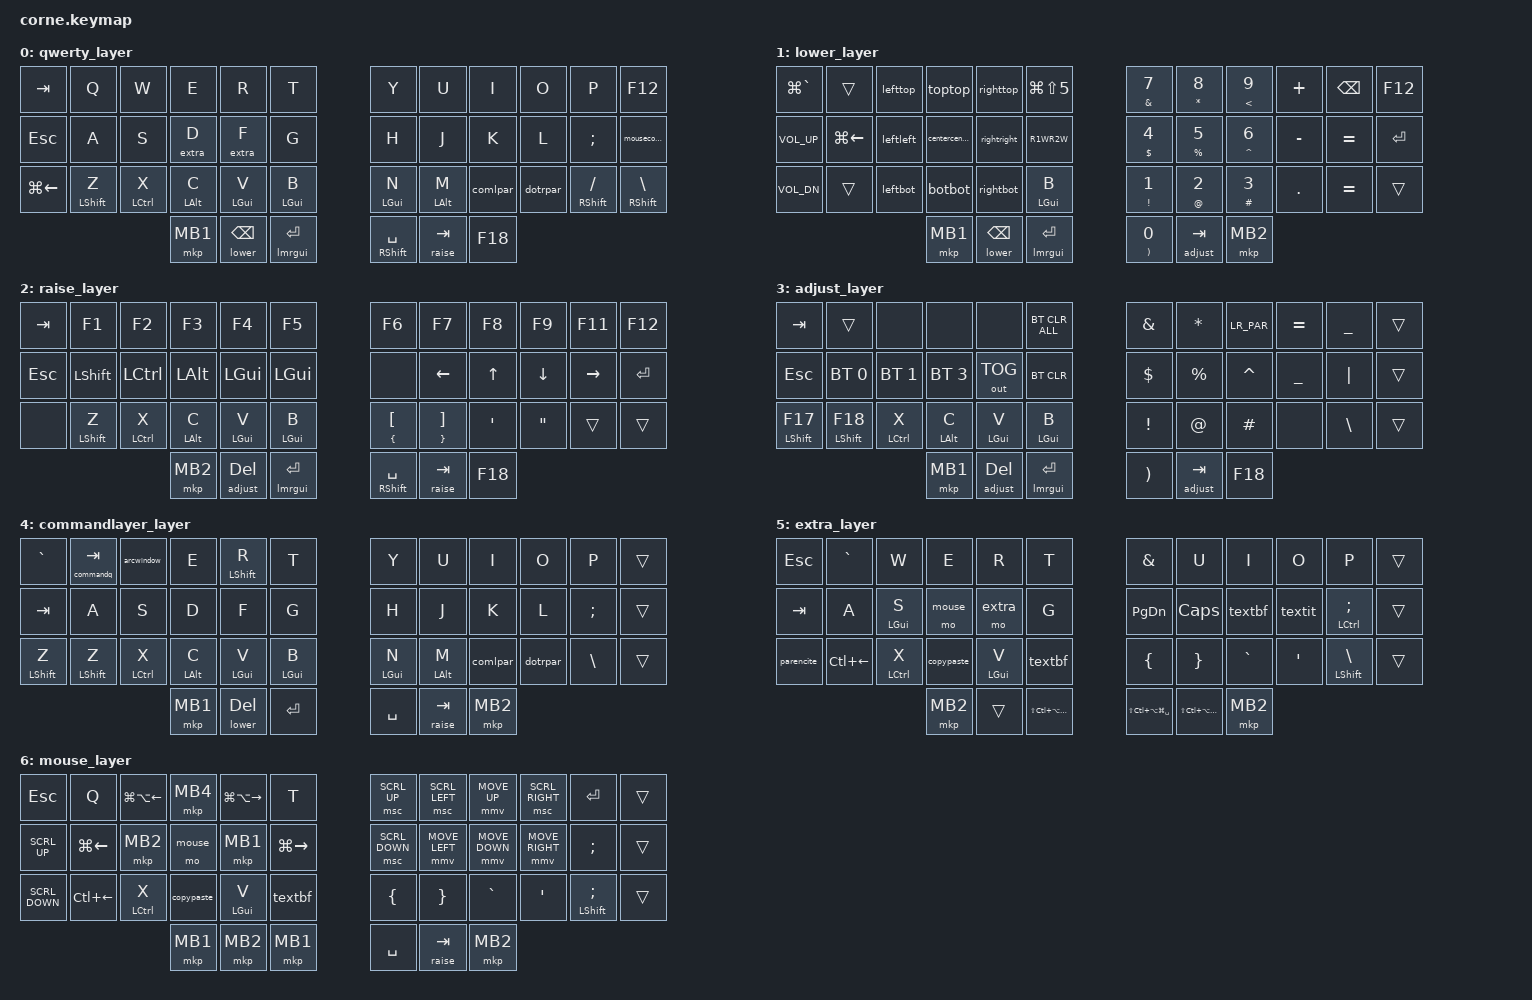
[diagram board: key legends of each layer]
/*
 * Copyright (c) 2020 The ZMK Contributors
 *

west build -d build/corne_left -p -b nice_nano -- -DSHIELD=corne_left -DZMK_EXTRA_MODULES="/workspaces/zmk/app/cirque-input-module-main"

west build -d build/corne_right -p -b nice_nano -- -DSHIELD=corne_right -DZMK_EXTRA_MODULES="/workspaces/zmk/app/cirque-input-module-main"

west build -d build/corne_left -p -b nice_nano_v2 -- -DSHIELD="corne_left"
west build -d build/corne_right -p -b nice_nano_v2 -- -DSHIELD="corne_right"

west build -d build/corne_left -p -b nice_nano_v2 -- -DSHIELD="corne_left azoteq_adapter_left_enabled" -DZMK_EXTRA_MODULES="/workspaces/zmk/app/azoteq_iqs5xx-input-module-main"

docker cp wizardly_wiles:/workspaces/zmk/app/build/corne_left/zephyr/zmk.uf2 "/Users/song100/Library/Mobile Documents/com~apple~CloudDocs/Keyboard/36firmware/Corne_Left.uf2"
docker cp wizardly_wiles:/workspaces/zmk/app/build/corne_right/zephyr/zmk.uf2 "/Users/song100/Library/Mobile Documents/com~apple~CloudDocs/Keyboard/36firmware/Corne_Right.uf2"

 * SPDX-License-Identifier: MIT
 */
#include <behaviors.dtsi>
#include <dt-bindings/zmk/keys.h>
#include <dt-bindings/zmk/bt.h>
#include <dt-bindings/zmk/outputs.h>
#include <dt-bindings/zmk/mouse.h>        
#include <dt-bindings/zmk/pointing.h>

#define qwerty 0
#define lower 1
#define raise 2
#define adjust 3
#define commandlayer 4
#define extra 5
#define mouse 6


#define ZMK_POINTING_DEFAULT_MOVE_VAL 3500  // default: 600
#define ZMK_POINTING_DEFAULT_SCRL_VAL 30

&mt {
    tapping-term-ms = <200>;///////////////
    flavor = "hold-preferred";
};

&lt {
    tapping-term-ms = <200>;
    flavor = "hold-preferred";
};


/{ // <---[[root node]]    
    macros {
        R_1W: R_1W {
            label = "R_1W";
            compatible = "zmk,behavior-macro";
            #binding-cells = <0>;
            wait-ms = <0>;
            tap-ms = <0>;
            bindings
                = <&macro_press &kp LSHFT>
                , <&macro_tap &kp S>
                , <&macro_release &kp LSHFT>
                , <&macro_tap &kp H &kp A &kp W &kp U &kp A &kp J &kp Y &kp D &kp S &kp N>
                ;
        };
        R_2W: R_2W {
            label = "R_2W";
            compatible = "zmk,behavior-macro";
            #binding-cells = <0>;
            wait-ms = <5>;
            tap-ms = <10>;
            bindings
                = <&macro_tap &kp PIPE>
                , <&macro_press &kp LSHFT>
                , <&macro_tap &kp X>
                , <&macro_release &kp LSHFT>
                , <&macro_tap &kp T &kp E>
                , <&macro_press &kp LSHFT>
                , <&macro_tap &kp Z &kp B>
                , <&macro_release &kp LSHFT>
                , <&macro_tap &kp N8>
                , <&macro_press &kp LSHFT>
                , <&macro_tap &kp Y>
                , <&macro_release &kp LSHFT>
                , <&macro_tap &kp R &kp D &kp C &kp SPACE>
                , <&macro_press &kp LSHFT>
                , <&macro_tap &kp S &kp B &kp R>
                , <&macro_release &kp LSHFT>
                , <&macro_tap &kp Z &kp U &kp 1>
                ;
        };
        textit: textit {
            label = "textit";
            compatible = "zmk,behavior-macro";
            #binding-cells = <0>;
            wait-ms = <20>;
            tap-ms = <10>;
            bindings
                = <&macro_tap 
                &kp LBRC &kp LEFT &kp LEFT
                &kp BSLH &kp F &kp K &kp X &kp F &kp L &kp F>
                ,<&macro_press &kp LALT>
                ,<&macro_tap &kp RIGHT &kp RIGHT>
                ,<&macro_release &kp LALT>
                ;
        };
        textbf: textbf {
            label = "textbf";
            compatible = "zmk,behavior-macro";
            #binding-cells = <0>;
            wait-ms = <20>;
            tap-ms = <10>;
            bindings
                = <&macro_tap 
                &kp LBRC &kp LEFT &kp LEFT
                &kp BSLH &kp F &kp K &kp X &kp F &kp B &kp E>
                ,<&macro_press 
                &kp LALT>
                ,<&macro_tap 
                &kp RIGHT &kp RIGHT>
                ,<&macro_release 
                &kp LALT>
                ;
        };
        LR_PAR: LR_PAR {
            label = "LR_PAR";
            compatible = "zmk,behavior-macro";
            #binding-cells = <0>;
            wait-ms = <40>;
            tap-ms = <40>;
            bindings
                = <&macro_press &kp LSHFT>
                , <&macro_tap &kp N9 &kp N0>
                , <&macro_release &kp LSHFT>
                , <&macro_tap &kp LEFT>
                ;
        };
        lmrgui: lmrgui {
            label = "lmrgui";
            compatible = "zmk,behavior-macro";
            wait-ms = <0>;
            tap-ms = <0>;
            #binding-cells = <0>;
            bindings
                = <&macro_press &mo commandlayer &kp RGUI>
                , <&macro_pause_for_release>
                , <&macro_release &mo commandlayer &kp RGUI>
                ;
        };
        mousecombo: mousecombo {
            label = "mousecombo";
            compatible = "zmk,behavior-macro";
            wait-ms = <0>;
            tap-ms = <0>;
            #binding-cells = <0>;
            bindings
                = <&macro_press &kp LGUI &kp LSHFT> 
                , <&macro_tap &kp SPACE>
                , <&macro_release &kp LGUI &kp LSHFT>
                , <&macro_press &mo mouse>
                , <&macro_pause_for_release>
                , <&macro_release &mo mouse>
                ;
        };
        parencite: parencite {
            label = "parencite";
            compatible = "zmk,behavior-macro";
            #binding-cells = <0>;
            wait-ms = <10>;
            tap-ms = <20>;
            bindings
                = <&macro_tap &kp BSLH &kp R &kp A &kp S &kp K &kp J &kp C &kp L &kp F &kp K>
                , <&macro_tap &kp LBKT &kp RBKT  &kp LBRC &kp RBRC &kp LEFT &kp LEFT &kp LBKT &kp RBKT &kp RIGHT &kp RIGHT>
                ;
        };
        // \(\beta\)
        beta: beta {
            label = "beta";
            compatible = "zmk,behavior-macro";
            #binding-cells = <0>;
            wait-ms = <10>;
            tap-ms = <30>;
            bindings
                = <&macro_tap &kp BSLH &kp LPAR &kp BSLH &kp B &kp K &kp J &kp A &kp BSLH &kp RPAR>
                ;
        };
        // ($R^2_{adj}$
        radjsq: radjsq {
            label = "radjsq";
            compatible = "zmk,behavior-macro";
            #binding-cells = <0>;
            wait-ms = <10>;
            tap-ms = <30>;
            bindings
                = <&macro_tap &kp LPAR &kp DLLR>
                , <&macro_press &kp RSHFT> 
                , <&kp S>
                , <&macro_release &kp RSHFT>
                , <&kp AMPS &kp UNDER &kp LBRC &kp A &kp G &kp Y &kp RBRC &kp DLLR>
                ;
        };
        topthirds: topthirds {
            label = "topthirds";
            compatible = "zmk,behavior-macro";
            #binding-cells = <0>;
            wait-ms = <10>;
            tap-ms = <30>;
            bindings
                = <&macro_press &kp LSHFT>
                , <&macro_press &kp LCTL>
                , <&macro_press &kp LALT>
                , <&macro_press &kp LGUI>
                , <&macro_tap &kp N8 &kp F4>
                , <&macro_release &kp LSHFT>
                , <&macro_release &kp LCTL>
                , <&macro_release &kp LALT>
                , <&macro_release &kp LGUI>
                ;
        };
        botthirds: botthirds {
            label = "botthirds";
            compatible = "zmk,behavior-macro";
            #binding-cells = <0>;
            wait-ms = <10>;
            tap-ms = <30>;
            bindings
                = <&macro_press &kp LSHFT>
                , <&macro_press &kp LCTL>
                , <&macro_press &kp LALT>
                , <&macro_press &kp LGUI>
                , <&macro_tap &kp N5 &kp F6>
                , <&macro_release &kp LSHFT>
                , <&macro_release &kp LCTL>
                , <&macro_release &kp LALT>
                , <&macro_release &kp LGUI>
                ;
        };
        centerthirds: centerthirds {
            label = "centerthirds";
            compatible = "zmk,behavior-macro";
            #binding-cells = <0>;
            wait-ms = <10>;
            tap-ms = <30>;
            bindings
                = <&macro_press &kp LSHFT>
                , <&macro_press &kp LCTL>
                , <&macro_press &kp LALT>
                , <&macro_press &kp LGUI>
                , <&macro_tap &kp N2 &kp F5>
                , <&macro_release &kp LSHFT>
                , <&macro_release &kp LCTL>
                , <&macro_release &kp LALT>
                , <&macro_release &kp LGUI>
                ;
        };
        leftthirds: leftthirds {
            label = "leftthirds";
            compatible = "zmk,behavior-macro";
            #binding-cells = <0>;
            wait-ms = <10>;
            tap-ms = <30>;
            bindings
                = <&macro_press &kp LSHFT>
                , <&macro_press &kp LCTL>
                , <&macro_press &kp LALT>
                , <&macro_press &kp LGUI>
                , <&macro_tap &kp N1 &kp M>
                , <&macro_release &kp LSHFT>
                , <&macro_release &kp LCTL>
                , <&macro_release &kp LALT>
                , <&macro_release &kp LGUI>
                ;
        };
        rightthirds: rightthirds {
            label = "rightthirds";
            compatible = "zmk,behavior-macro";
            #binding-cells = <0>;
            wait-ms = <10>;
            tap-ms = <30>;
            bindings
                = <&macro_press &kp LSHFT>
                , <&macro_press &kp LCTL>
                , <&macro_press &kp LALT>
                , <&macro_press &kp LGUI>
                , <&macro_tap &kp N3 &kp M>
                , <&macro_release &kp LSHFT>
                , <&macro_release &kp LCTL>
                , <&macro_release &kp LALT>
                , <&macro_release &kp LGUI>
                ;
        };
        rightminusgt: rightminusgt {
            label = "rightminusgt";
            compatible = "zmk,behavior-macro";
            #binding-cells = <0>;
            wait-ms = <10>;
            tap-ms = <30>;
            bindings
                = <&macro_tap &kp MINUS &kp GT>
                ;
        };
        copypastelink: copypastelink {
            label = "copypastelink";
            compatible = "zmk,behavior-macro";
            #binding-cells = <0>;
            wait-ms = <10>;
            tap-ms = <30>;
            bindings
                = <&macro_press &kp LGUI>
                , <&macro_tap &kp U &kp C &kp TAB>
                , <&macro_release &kp LGUI>
                , <&macro_press &kp LGUI>
                , <&macro_tap &kp F>
                , <&macro_wait_time 50>
                , <&macro_tap &kp V>
                , <&macro_release &kp LGUI>
                , <&macro_tap &kp RET>
                ;
        };
        ultimateback: ultimateback {
            label = "ultimateback";
            compatible = "zmk,behavior-macro";
            #binding-cells = <0>;
            wait-ms = <0>;
            tap-ms = <30>;
            bindings
                = <&macro_press &kp LGUI>
                , <&macro_tap &kp LBKT>
                , <&macro_release &kp LGUI>
                , <&macro_tap &kp K_BACK>
                ;
        };
        commandq: commandq {
            label = "commandq";
            compatible = "zmk,behavior-macro";
            #binding-cells = <0>;
            wait-ms = <0>;
            tap-ms = <30>;
            bindings
                = <&macro_press &kp LGUI>
                , <&macro_tap &kp Q>
                , <&macro_release &kp LGUI>
                ;
        };
    };
    behaviors {
        gresc: grave_escape {
            compatible = "zmk,behavior-mod-morph";
            #binding-cells = <0>;
            bindings = <&kp ESC>, <&kp GRAVE>;
            mods = <(MOD_RGUI|MOD_LSFT|MOD_LALT|MOD_LCTL)>;
        };
        mnl: mouse_n_language {
            compatible = "zmk,behavior-hold-tap";
            label = "MOUSE_MODS";
            #binding-cells = <2>;
            tapping-term-ms = <350>;
            quick-tap-ms = <0>;
            flavor = "tap-preferred";
            bindings = <&mo>, <&kp>;
        };
        bhm: balanced_homerow_mods {
            compatible = "zmk,behavior-hold-tap";
            label = "HOMEROW_MODS";
            #binding-cells = <2>;
            tapping-term-ms = <250>;    // <---[[moderate duration]]
            quick-tap-ms = <0>;
            flavor = "balanced";
            bindings = <&kp>, <&kp>;
        };
        tns: tap_number_symbols {
            compatible = "zmk,behavior-hold-tap";
            label = "NUM_SYMBOLS";
            #binding-cells = <2>;
            tapping-term-ms = <250>;    // <---[[moderate duration]]
            quick-tap-ms = <0>;
            flavor = "tap-preferred";
            bindings = <&kp>, <&kp>;
        };//the following two go together
        comlpar: comma_parenthesis {
            compatible = "zmk,behavior-mod-morph";
            label = "COMMA_LPARENTH";
            #binding-cells = <0>;
            bindings = <&kp COMMA>, <&kp LPAR>;
            mods = <(MOD_RSFT)>;
        };
        dotrpar: dot_parenthesis {
            compatible = "zmk,behavior-mod-morph";
            label = "DOT_RPARENTH";
            #binding-cells = <0>;
            bindings = <&kp DOT>, <&kp RPAR>;
            mods = <(MOD_RSFT)>;
        };//the following two go together        
        comlrpar: comma_parentheses {
            compatible = "zmk,behavior-mod-morph";
            label = "COMMA_BOTHPARENTH";
            #binding-cells = <0>;
            bindings = <&kp COMMA>, <&LR_PAR>;
            mods = <(MOD_RSFT)>;
        };
        dotqmark: dot_qmark {
            compatible = "zmk,behavior-mod-morph";
            label = "DOT_QMARK";
            #binding-cells = <0>;
            bindings = <&kp DOT>, <&kp QMARK>;
            mods = <(MOD_RSFT)>;
        };
        // qtab: q_cmdandtab {
        //     compatible = "zmk,behavior-mod-morph";
        //     label = "Q_CMDANDTAB";
        //     #binding-cells = <0>;
        //     bindings = <&kp Q>, <&kp LG(TAB)>;
        //     mods = <(MOD_LGUI)>;
        // };
        qtab2: qtab2 {
            compatible = "zmk,behavior-hold-tap";
            label = "Q_CMDANDTAB2";
            #binding-cells = <2>;
            flavor = "tap-preferred";
            tapping-term-ms = <250>;
            global-quick-tap;
            bindings = <&commandq>, <&kp>;
        };
        tabgui: tabandgui {
            compatible = "zmk,behavior-hold-tap";
            label = "TAB_GUI";
            #binding-cells = <2>;
            flavor = "hold-preferred";
            tapping-term-ms = <200>;
            quick-tap-ms = <125>;
            global-quick-tap;
            bindings = <&lmrgui>, <&kp>;
        };
        dmousecombo: dmousecombo {
            compatible = "zmk,behavior-hold-tap";
            label = "D_MCOMBO";
            #binding-cells = <2>;
            flavor = "tap-preferred";
            tapping-term-ms = <200>;
            quick-tap-ms = <125>;
            global-quick-tap;
            bindings = <&mousecombo>, <&kp>;
        };
        dmousecombo2: dmousecombo2 {
            compatible = "zmk,behavior-hold-tap";
            label = "D_MCOMBO2";
            #binding-cells = <2>;
            flavor = "tap-preferred";
            tapping-term-ms = <200>;
            quick-tap-ms = <125>;
            global-quick-tap;
            bindings = <&mousecombo>, <&mkp>;
        };
        copypaste: copypaste {
            compatible = "zmk,behavior-tap-dance";
            #binding-cells = <0>;
            tapping-term-ms = <200>;
            bindings = <&kp LG(C)>, <&kp LG(V)>, <&kp LG(V)>;
        };
        // td_mt_bspc: tap_dance_layer_tap {
        //     compatible = "zmk,behavior-tap-dance";
        //     #binding-cells = <0>;
        //     tapping-term-ms = <150>;
        //     bindings = <&lt lower BSPC>, <&kp BSPC>;
        // };
        // td_mtt_spc: tap_dance_layer_tap {
        //     compatible = "zmk,behavior-tap-dance";
        //     #binding-cells = <0>;
        //     tapping-term-ms = <150>;
        //     bindings = <&mt LSHFT SPACE>, <&kp SPACE>;
        // };
        qlt: quick_layer_tap {
            compatible = "zmk,behavior-hold-tap";
            #binding-cells = <2>;
            tapping-term-ms = <200>;
            quick-tap-ms = <200>;
            flavor = "hold-preferred";
            bindings = <&mo>, <&kp>;
        };
        qmt: quick_mod_tap {
            compatible = "zmk,behavior-hold-tap";
            #binding-cells = <2>;
            tapping-term-ms = <200>;
            quick-tap-ms = <200>;
            flavor = "hold-preferred";
            bindings = <&kp>, <&kp>;
        };
        wintop: window_top {
            compatible = "zmk,behavior-tap-dance";
            #binding-cells = <0>;
            tapping-term-ms = <150>;
            bindings = <&kp LC(LA(UP))>, <&kp BSPC>;
        };
        scroll_up_down: behavior_sensor_rotate_mouse_wheel_up_down {
	        compatible = "zmk,behavior-sensor-rotate";
	        #sensor-binding-cells = <0>;
            bindings = <&msc SCRL_DOWN>, <&msc SCRL_UP>;
            tap-ms = <20>;
        };
        scroll_l_r: behavior_sensor_rotate_mouse_wheel_left_right {
	        compatible = "zmk,behavior-sensor-rotate";
	        #sensor-binding-cells = <0>;
            bindings = <&msc SCRL_RIGHT>, <&msc SCRL_LEFT>;
            tap-ms = <20>;
        };
        homef12: homef12 {
            compatible = "zmk,behavior-tap-dance";
            #binding-cells = <0>;
            tapping-term-ms = <200>;
            bindings = <&kp ESC>, <&ultimateback>, <&kp F12>;
        };
        lefttop: lefttop {
            compatible = "zmk,behavior-tap-dance";
            #binding-cells = <0>;
            tapping-term-ms = <200>;
            bindings = <&kp LC(LA(LG(PG_UP)))>, <&kp LS(LC(LA(LG(N7))))>;
        };
        righttop: righttop {
            compatible = "zmk,behavior-tap-dance";
            #binding-cells = <0>;
            tapping-term-ms = <200>;
            bindings = <&kp LC(LA(LG(HOME)))>, <&kp LS(LC(LA(LG(N9))))>;
        };
        leftbot: leftbot {
            compatible = "zmk,behavior-tap-dance";
            #binding-cells = <0>;
            tapping-term-ms = <200>;
            bindings = <&kp LC(LA(LG(PG_DN)))>, <&kp LS(LC(LA(LG(N4))))>;
        };
        rightbot: rightbot {
            compatible = "zmk,behavior-tap-dance";
            #binding-cells = <0>;
            tapping-term-ms = <200>;
            bindings = <&kp LC(LA(LG(END)))>, <&kp LS(LC(LA(LG(N6))))>;
        };
        toptop: toptop {
            compatible = "zmk,behavior-tap-dance";
            #binding-cells = <0>;
            tapping-term-ms = <200>;
            bindings = <&kp LC(LA(UP))>, <&topthirds>, <&kp LS(LC(LA(LG(F7))))>;
        };
        botbot: botbot {
            compatible = "zmk,behavior-tap-dance";
            #binding-cells = <0>;
            tapping-term-ms = <200>;
            bindings = <&kp LC(LA(DOWN))>, <&botthirds>, <&kp LS(LC(LA(LG(F9))))>;
        };
        leftleft: leftleft {
            compatible = "zmk,behavior-tap-dance";
            #binding-cells = <0>;
            tapping-term-ms = <200>;
            bindings = <&kp LC(LA(LEFT))>, <&kp LS(LC(LA(LG(N1))))>,  <&kp LS(LC(LA(LG(F1))))>;
        };
        rightright: rightright {
            compatible = "zmk,behavior-tap-dance";
            #binding-cells = <0>;
            tapping-term-ms = <200>;
            bindings = <&kp LC(LA(RIGHT))>, <&kp LS(LC(LA(LG(N3))))>, <&kp LS(LC(LA(LG(F2))))>;
        };
        centercenter: centercenter {
            compatible = "zmk,behavior-tap-dance";
            #binding-cells = <0>;
            tapping-term-ms = <200>;
            bindings = <&kp LC(LA(RET))>, <&centerthirds>, <&kp LS(LC(LA(LG(F3))))>;
        };
        R1WR2W: R1WR2W {
            compatible = "zmk,behavior-tap-dance";
            #binding-cells = <0>;
            tapping-term-ms = <200>;
            bindings = <&R_1W>, <&R_1W>, <&R_2W>;
        };
        arcwindow: arcwindow {
            compatible = "zmk,behavior-tap-dance";
            #binding-cells = <0>;
            tapping-term-ms = <200>;
            bindings = <&kp LG(W)>, <&kp LS(LG(W))>;
        };
        toggleForkLift: toggleForkLift {
            compatible = "zmk,behavior-tap-dance";
            #binding-cells = <0>;
            tapping-term-ms = <200>;
            bindings = <&kp LC(LG(1))>, <&kp LC(LG(5))>, <&kp LC(LG(6))>;//name, modified, size
        };
    };
    combos {
        compatible = "zmk,combos";
        combo_SCROLLUP {
            timeout-ms = <50>;
            key-positions = <3 13>;
            bindings = <&msc SCRL_UP>;
        };
        combo_SCROLLDN {
            timeout-ms = <50>;
            key-positions = <13 23>;
            bindings = <&msc SCRL_DOWN>;
        };
        combo_BACK {
            timeout-ms = <50>;
            key-positions = <10 20>;
            bindings = <&kp LG(LBKT)>;
        };
    };
};

/{
    keymap {
        compatible = "zmk,keymap";
        qwerty_layer {
            bindings = <
    &kp TAB      &kp Q            &kp W            &kp E            &kp R            &kp T            &kp Y            &kp U            &kp I        &kp O        &kp P            &kp F12
    &kp ESC      &kp A            &kp S            &mnl extra D     &mnl extra F     &kp G            &kp H            &kp J            &kp K        &kp L        &kp SEMI         &mousecombo
    &kp LG(LEFT) &bhm LSHFT Z     &bhm LCTRL X     &bhm LALT C      &bhm LGUI V      &bhm LGUI B      &bhm LGUI N      &bhm LALT M      &comlpar     &dotrpar     &mt RSHFT FSLH   &mt RSHFT BSLH
                                  &mkp MB1         &qlt lower BSPC  &tabgui 0 RET    &tns RSHFT SPACE &lt raise TAB    &kp F18
                >;
        };
        lower_layer {
            bindings = <
    &kp LG(GRAVE) &trans          &lefttop         &toptop          &righttop        &kp LG(LS(N5))   &tns AMPS N7     &tns ASTRK N8    &tns LT N9   &kp PLUS     &kp BSPC         &kp F12 
    &kp C_VOL_UP  &kp LG(LEFT)    &leftleft        &centercenter    &rightright      &R1WR2W          &tns DLLR N4     &tns PRCNT N5    &tns CARET N6 &kp MINUS   &kp EQUAL        &kp RET
    &kp C_VOL_DN  &trans          &leftbot         &botbot          &rightbot        &bhm LGUI B      &tns EXCL N1     &tns AT N2       &tns POUND N3 &kp DOT     &kp EQUAL        &trans
                                  &mkp MB1         &qlt lower BSPC  &tabgui 0 RET    &tns RPAR N0     &lt adjust TAB   &mkp MB2 
                >;
        };
        raise_layer {
            bindings = <
    &kp TAB      &kp F1           &kp F2           &kp F3           &kp F4           &kp F5           &kp F6           &kp F7           &kp F8       &kp F9       &kp F11          &kp F12
    &kp ESC      &kp LSHFT        &kp LCTL         &kp LALT         &kp LGUI         &kp LGUI         &none            &kp LEFT         &kp UP       &kp DOWN     &kp RIGHT        &kp RET
    &none        &bhm LSHFT Z     &bhm LCTRL X     &bhm LALT C      &bhm LGUI V      &bhm LGUI B      &tns LBRC LBKT   &tns RBRC RBKT   &kp SQT      &kp DQT      &trans           &trans
                                  &mkp MB2         &qlt adjust DEL  &tabgui 0 RET    &tns RSHFT SPACE &lt raise TAB    &kp F18
                >;
        };
        adjust_layer {
            bindings = <
    &kp TAB      &trans           &none            &none            &none            &bt BT_CLR_ALL   &kp AMPS         &kp ASTRK        &LR_PAR      &kp EQUAL    &kp UNDER        &trans
    &kp ESC      &bt BT_SEL 0     &bt BT_SEL 1     &bt BT_SEL 3     &out OUT_TOG     &bt BT_CLR       &kp DLLR         &kp PRCNT        &kp CARET    &kp UNDER    &kp PIPE         &trans
    &bhm LSHFT F17 &bhm LSHFT F18 &bhm LCTRL X     &bhm LALT C      &bhm LGUI V      &bhm LGUI B      &kp EXCL         &kp AT           &kp POUND    &none        &kp BSLH         &trans
                                  &mkp MB1         &qlt adjust DEL  &tabgui 0 RET    &kp RPAR         &lt adjust TAB   &kp F18
                >;
        };
        commandlayer_layer {
            bindings = <
    &kp GRAVE    &qtab2 0 TAB     &arcwindow       &kp E            &bhm LSHFT R     &kp T            &kp Y            &kp U            &kp I        &kp O        &kp P            &trans
    &kp TAB      &kp A            &kp S            &kp D            &kp F            &kp G            &kp H            &kp J            &kp K        &kp L        &kp SEMI         &trans
    &bhm LSHFT Z &bhm LSHFT Z     &bhm LCTRL X     &bhm LALT C      &bhm LGUI V      &bhm LGUI B      &bhm LGUI N      &bhm LALT M      &comlpar     &dotrpar     &kp BSLH         &trans
                                  &mkp MB1         &qlt lower DEL  &kp RET          &kp SPACE        &lt raise TAB    &mkp MB2 
                >;
        };
        extra_layer {
            bindings = <
    &kp ESC      &kp GRAVE        &kp W            &kp E            &kp R            &kp T            &kp AMPS         &kp U            &kp I        &kp O        &kp P            &trans
    &kp TAB      &kp A            &bhm LGUI S      &mo mouse        &mo extra        &kp G            &kp PG_DN        &kp CAPS         &textbf      &textit      &bhm LCTL SEMI   &trans
    &parencite   &kp LC(LEFT)     &bhm LCTRL X     &copypaste       &bhm LGUI V      &textbf          &kp LBRC         &kp RBRC         &kp GRAVE    &kp SQT      &bhm LSHFT BSLH  &trans
                                  &mkp MB2         &trans           &kp LS(LC(LA(LG(RET)))) &kp LS(LC(LA(LG(SPACE)))) &kp LS(LC(LA(LG(TAB)))) &mkp MB2
                >;
        };
        mouse_layer {
            bindings = <
    &kp ESC      &kp Q            &kp LG(LA(LEFT)) &mkp MB4         &kp LG(LA(RIGHT)) &kp T           &msc SCRL_UP     &msc SCRL_LEFT   &mmv MOVE_UP &msc SCRL_RIGHT &kp RET       &trans
    &kp SCRL_UP  &kp LG(LEFT)     &mkp MB2         &mo mouse        &mkp MB1         &kp LG(RIGHT)    &msc SCRL_DOWN   &mmv MOVE_LEFT   &mmv MOVE_DOWN &mmv MOVE_RIGHT &kp SEMI    &trans
    &kp SCRL_DOWN &kp LC(LEFT)    &bhm LCTRL X     &copypaste       &bhm LGUI V      &textbf          &kp LBRC         &kp RBRC         &kp GRAVE    &kp SQT      &bhm LSHFT SEMI  &trans
                                  &mkp MB1         &mkp MB2         &mkp MB1         &kp SPACE        &lt raise TAB    &mkp MB2
        >;
        };
    };

};
